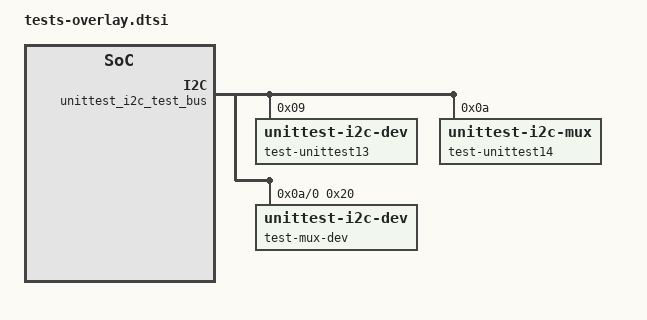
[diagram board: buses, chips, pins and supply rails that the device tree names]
// SPDX-License-Identifier: GPL-2.0

/ {
	testcase-data {
		overlay-node {

			/* test bus */
			unittest_test_bus: test-bus {
				compatible = "simple-bus";
				#address-cells = <1>;
				#size-cells = <0>;

				unittest100: test-unittest100 {
					compatible = "unittest";
					status = "okay";
					reg = <100>;
				};

				unittest101: test-unittest101 {
					compatible = "unittest";
					status = "disabled";
					reg = <101>;
				};

				unittest0: test-unittest0 {
					compatible = "unittest";
					status = "disabled";
					reg = <0>;
				};

				unittest1: test-unittest1 {
					compatible = "unittest";
					status = "okay";
					reg = <1>;
				};

				unittest2: test-unittest2 {
					compatible = "unittest";
					status = "disabled";
					reg = <2>;
				};

				unittest3: test-unittest3 {
					compatible = "unittest";
					status = "okay";
					reg = <3>;
				};

				unittest5: test-unittest5 {
					compatible = "unittest";
					status = "disabled";
					reg = <5>;
				};

				unittest6: test-unittest6 {
					compatible = "unittest";
					status = "disabled";
					reg = <6>;
				};

				unittest7: test-unittest7 {
					compatible = "unittest";
					status = "disabled";
					reg = <7>;
				};

				unittest8: test-unittest8 {
					compatible = "unittest";
					status = "disabled";
					reg = <8>;
				};

				unittest_i2c_test_bus: i2c-test-bus {
					compatible = "unittest-i2c-bus";
					status = "okay";
					reg = <50>;

					#address-cells = <1>;
					#size-cells = <0>;

					test-unittest12 {
						reg = <8>;
						compatible = "unittest-i2c-dev";
						status = "disabled";
					};

					test-unittest13 {
						reg = <9>;
						compatible = "unittest-i2c-dev";
						status = "okay";
					};

					test-unittest14 {
						reg = <10>;
						compatible = "unittest-i2c-mux";
						status = "okay";

						#address-cells = <1>;
						#size-cells = <0>;

						i2c@0 {
							#address-cells = <1>;
							#size-cells = <0>;
							reg = <0>;

							test-mux-dev {
								reg = <32>;
								compatible = "unittest-i2c-dev";
								status = "okay";
							};
						};
					};
				};
			};
		};
	};
};
